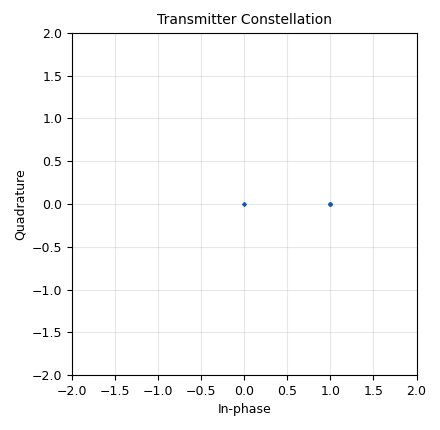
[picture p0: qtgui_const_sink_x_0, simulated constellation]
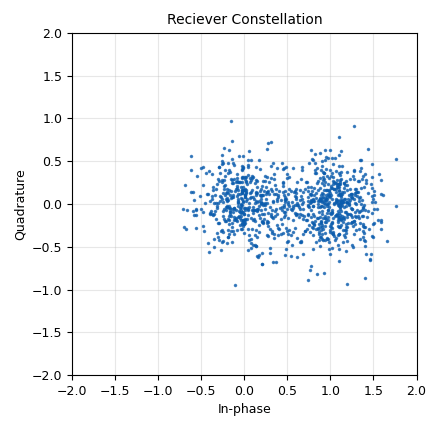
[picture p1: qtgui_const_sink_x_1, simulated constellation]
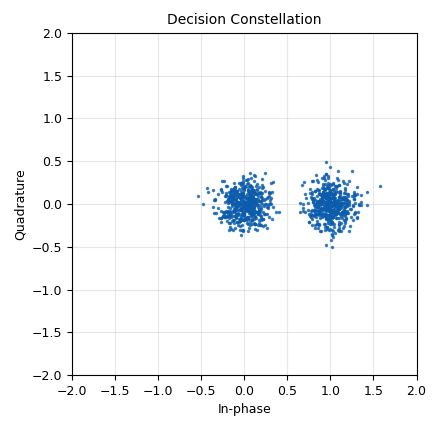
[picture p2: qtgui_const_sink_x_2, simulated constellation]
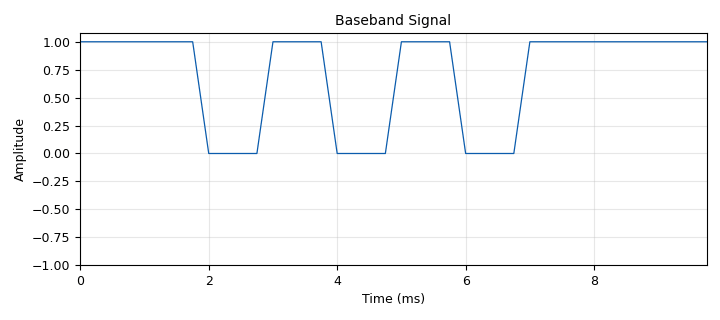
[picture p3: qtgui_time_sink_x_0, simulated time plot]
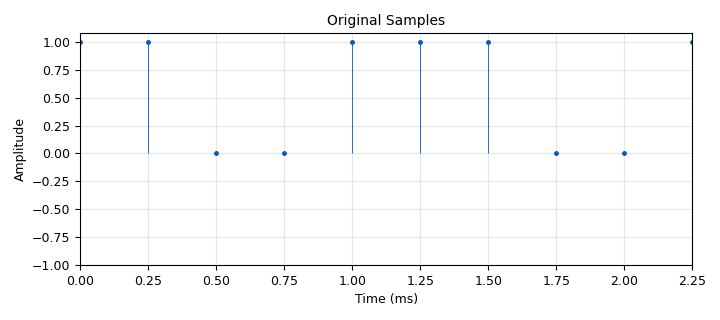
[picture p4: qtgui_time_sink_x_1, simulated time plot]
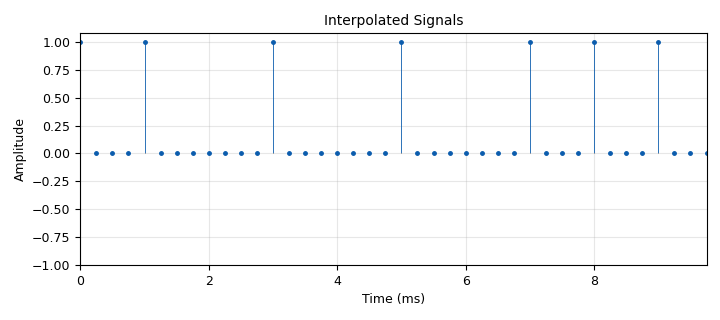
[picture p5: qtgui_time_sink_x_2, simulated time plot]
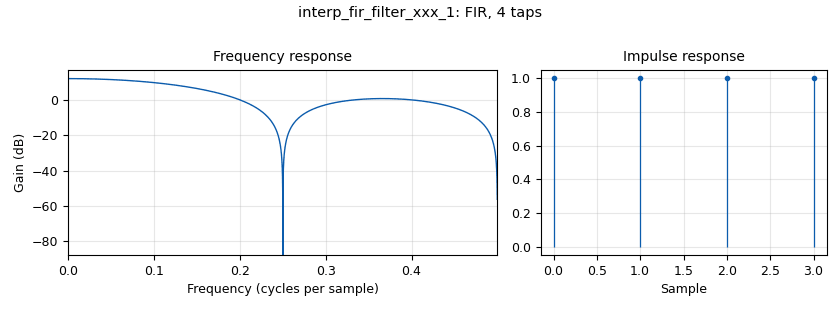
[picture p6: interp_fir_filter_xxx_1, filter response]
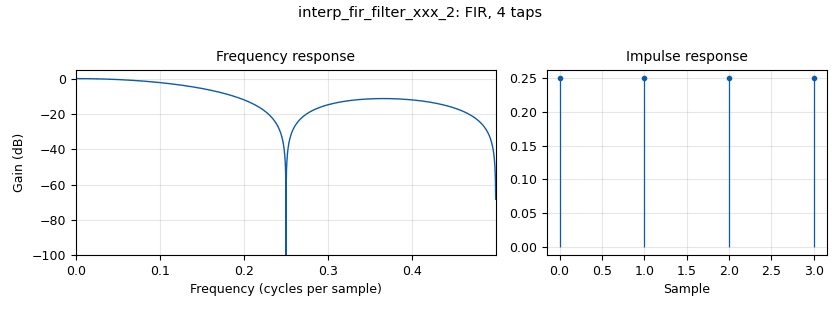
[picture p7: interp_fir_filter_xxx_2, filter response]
options:
  parameters:
    author: pgsve
    generate_options: qt_gui
    id: ask_error
    output_language: python
    title: Not titled yet
  states: {}

blocks:
- name: BER_Theoritical
  id: variable_qtgui_label
  parameters:
    label: ber_theory
    type: int
    value: '0'
  states: {state: disabled}
- name: EbN0
  id: variable
  parameters:
    value: 10**(EbN0_dB/10)
  states: {state: disabled}
- name: EbN0_dB
  id: variable_qtgui_range
  parameters:
    start: '0'
    step: '1'
    stop: '12'
    value: '1'
  states: {state: disabled}
- name: N0
  id: variable
  parameters:
    value: 2/EbN0
  states: {state: disabled}
- name: ber_theory
  id: variable
  parameters:
    value: 0.5*scipy.special.erfc(np.sqrt(10**(EbN0_dB/10)/2))
  states: {state: disabled}
- name: downsample_delay
  id: variable
  parameters:
    value: '0'
  states: {}
- name: noise_amp
  id: variable
  parameters:
    value: np.sqrt(N0)
  states: {state: disabled}
- name: noise_var
  id: variable_qtgui_range
  parameters:
    start: '0'
    step: '0.01'
    stop: '1.0'
    value: '0.4'
  states: {}
- name: nsymbols
  id: variable
  parameters:
    value: '10'
  states: {}
- name: samp_rate
  id: variable
  parameters:
    value: '4000'
  states: {}
- name: symbol_rate
  id: variable
  parameters:
    value: '1000'
  states: {}
- name: variable_0
  id: variable
  parameters:
    value: '0'
  states: {}
- name: analog_const_source_x_0
  id: analog_const_source_x
  parameters:
    const: ber_theory
    type: float
  states: {state: disabled}
- name: analog_noise_source_x_0
  id: analog_noise_source_x
  parameters:
    amp: noise_var
    noise_type: analog.GR_GAUSSIAN
    seed: '0'
    type: complex
  states: {}
- name: analog_random_source_x_0
  id: analog_random_source_x
  parameters:
    max: '2'
    min: '0'
    num_samps: '100000'
    repeat: 'False'
    type: int
  states: {}
- name: ber
  id: qtgui_number_sink
  parameters:
    graph_type: qtgui.NUM_GRAPH_NONE
    name: Theoritical BER
    type: float
  states: {state: disabled}
- name: blocks_add_xx_0
  id: blocks_add_xx
  parameters:
    type: complex
  states: {}
- name: blocks_char_to_float_0
  id: blocks_char_to_float
  parameters:
    scale: '1'
  states: {}
- name: blocks_char_to_float_1
  id: blocks_char_to_float
  parameters:
    scale: '1'
  states: {}
- name: blocks_float_to_char_0
  id: blocks_float_to_char
  parameters:
    scale: '1'
  states: {}
- name: blocks_float_to_complex_0
  id: blocks_float_to_complex
  parameters: {}
  states: {}
- name: blocks_keep_one_in_n_0
  id: blocks_keep_one_in_n
  parameters:
    n: (samp_rate//symbol_rate)
    type: complex
  states: {}
- name: blocks_skiphead_0
  id: blocks_skiphead
  parameters:
    num_items: downsample_delay
    type: complex
  states: {}
- name: blocks_throttle2_0
  id: blocks_throttle2
  parameters:
    samples_per_second: '8000'
    type: float
  states: {}
- name: digital_chunks_to_symbols_xx_0
  id: digital_chunks_to_symbols_xx
  parameters:
    dimension: '1'
    in_type: int
    out_type: float
    symbol_table: '[0,1]'
  states: {}
- name: epy_block_0
  id: epy_block
  parameters:
    _source_code: |-
      import numpy as np
      from gnuradio import gr


      class blk(gr.sync_block):
          """
          BER Calculator

          Input 0 : Transmitted bits (uint8)
          Input 1 : Detected bits    (uint8)

          Output 0: BER
          Output 1: Total errors
          Output 2: Total bits compared
          """

          def __init__(self):
              gr.sync_block.__init__(
                  self,
                  name='BER Calculator',
                  in_sig=[np.uint8, np.uint8],
                  out_sig=[np.float32, np.float32, np.float32]
              )

              self.total_bits = 0
              self.total_errors = 0

          def work(self, input_items, output_items):

              tx = input_items[0]
              rx = input_items[1]

              N = min(len(tx), len(rx))

              if N == 0:
                  return 0

              # Count errors in the current block
              errors = np.count_nonzero(tx[:N] != rx[:N])

              # Cumulative counters
              self.total_errors += int(errors)
              self.total_bits += N

              # Calculate BER
              ber = float(self.total_errors) / float(self.total_bits)

              # Outputs
              output_items[0][:N] = ber
              output_items[1][:N] = float(self.total_errors)
              output_items[2][:N] = float(self.total_bits)

              return N
  states: {}
- name: epy_block_1
  id: epy_block
  parameters:
    _source_code: |-
      import numpy as np
      from gnuradio import gr


      class blk(gr.sync_block):
          """
          ASK/OOK Decision Device

          Input  : Complex matched-filter samples
          Output : Detected bits (0 or 1)
          """

          def __init__(self, threshold=0.5):
              gr.sync_block.__init__(
                  self,
                  name='ASK Decision Device',
                  in_sig=[np.complex64],
                  out_sig=[np.uint8]
              )

              self.threshold = threshold

          def work(self, input_items, output_items):

              # Complex samples from matched filter/downsampler
              y = input_items[0]

              # Take the in-phase (real) component
              y_real = np.real(y)

              # Decision:
              # Real(y) > threshold  -> 1
              # Real(y) <= threshold -> 0
              output_items[0][:] = (y_real > self.threshold).astype(np.uint8)

              return len(output_items[0])
    threshold: '0.5'
  states: {}
- name: import_0
  id: import
  parameters:
    imports: import numpy as np
  states: {}
- name: import_1
  id: import
  parameters:
    imports: import scipy.special
  states: {state: disabled}
- name: interp_fir_filter_xxx_0
  id: interp_fir_filter_xxx
  parameters:
    interp: samp_rate//symbol_rate
    taps: np.hstack((1, np.zeros(samp_rate//symbol_rate-1)))
    type: fff
  states: {}
- name: interp_fir_filter_xxx_1
  id: interp_fir_filter_xxx
  parameters:
    interp: '1'
    taps: np.ones(samp_rate//symbol_rate)
    type: fff
  states: {}
- name: interp_fir_filter_xxx_2
  id: interp_fir_filter_xxx
  parameters:
    interp: '1'
    taps: 1./float(samp_rate//symbol_rate)*(np.ones(samp_rate//symbol_rate))
    type: ccc
  states: {}
- name: qtgui_const_sink_x_0
  id: qtgui_const_sink_x
  parameters:
    grid: 'True'
    gui_hint: 1,0,1,1
    name: Transmitter Constellation
    size: nsymbols*(samp_rate//symbol_rate)
    type: complex
  states: {}
- name: qtgui_const_sink_x_1
  id: qtgui_const_sink_x
  parameters:
    gui_hint: 1,1,1,1
    name: Reciever Constellation
    size: '1024'
    type: complex
  states: {}
- name: qtgui_const_sink_x_2
  id: qtgui_const_sink_x
  parameters:
    gui_hint: 1,2,1,1
    name: Decision Constellation
    size: '1024'
    type: complex
  states: {}
- name: qtgui_number_sink_0
  id: qtgui_number_sink
  parameters:
    graph_type: qtgui.NUM_GRAPH_NONE
    gui_hint: 2,0,1,1
    name: Simulation BER
    type: float
  states: {}
- name: qtgui_number_sink_1
  id: qtgui_number_sink
  parameters:
    graph_type: qtgui.NUM_GRAPH_NONE
    gui_hint: 3,0,1,1
    name: Error Counts
    type: float
  states: {}
- name: qtgui_number_sink_2
  id: qtgui_number_sink
  parameters:
    graph_type: qtgui.NUM_GRAPH_NONE
    gui_hint: 4,0,1,1
    name: Total Bits
    type: float
  states: {}
- name: qtgui_time_sink_x_0
  id: qtgui_time_sink_x
  parameters:
    grid: 'True'
    gui_hint: 0,2,1,1
    name: Baseband Signal
    size: nsymbols*(samp_rate//symbol_rate)
    srate: samp_rate
    type: float
  states: {}
- name: qtgui_time_sink_x_1
  id: qtgui_time_sink_x
  parameters:
    grid: 'True'
    gui_hint: 0,0,1,1
    marker1: '0'
    name: Original Samples
    size: nsymbols
    srate: samp_rate
    stemplot: 'True'
    type: float
  states: {}
- name: qtgui_time_sink_x_2
  id: qtgui_time_sink_x
  parameters:
    grid: 'True'
    gui_hint: 0,1,1,1
    marker1: '0'
    name: Interpolated Signals
    size: nsymbols*(samp_rate//symbol_rate)
    srate: samp_rate
    stemplot: 'True'
    type: float
  states: {}
- name: qtgui_time_sink_x_5
  id: qtgui_time_sink_x
  parameters:
    grid: 'True'
    gui_hint: 2,1,2,2
    marker1: '0'
    name: TX-RX Samples
    nconnections: '2'
    size: nsymbols*(samp_rate//symbol_rate)
    srate: samp_rate
    stemplot: 'True'
    type: float
  states: {}
- name: virtual_sink_0
  id: virtual_sink
  parameters:
    stream_id: digital
  states: {}
- name: virtual_source_0
  id: virtual_source
  parameters:
    stream_id: digital
  states: {}

connections:
- [analog_const_source_x_0, '0', ber, '0']
- [analog_noise_source_x_0, '0', blocks_add_xx_0, '1']
- [analog_random_source_x_0, '0', digital_chunks_to_symbols_xx_0, '0']
- [blocks_add_xx_0, '0', interp_fir_filter_xxx_2, '0']
- [blocks_add_xx_0, '0', qtgui_const_sink_x_1, '0']
- [blocks_char_to_float_0, '0', qtgui_time_sink_x_5, '1']
- [blocks_char_to_float_1, '0', qtgui_time_sink_x_5, '0']
- [blocks_float_to_char_0, '0', blocks_char_to_float_1, '0']
- [blocks_float_to_char_0, '0', epy_block_0, '0']
- [blocks_float_to_complex_0, '0', qtgui_const_sink_x_0, '0']
- [blocks_float_to_complex_0, '0', virtual_sink_0, '0']
- [blocks_keep_one_in_n_0, '0', epy_block_1, '0']
- [blocks_keep_one_in_n_0, '0', qtgui_const_sink_x_2, '0']
- [blocks_skiphead_0, '0', blocks_keep_one_in_n_0, '0']
- [blocks_throttle2_0, '0', interp_fir_filter_xxx_0, '0']
- [digital_chunks_to_symbols_xx_0, '0', blocks_float_to_char_0, '0']
- [digital_chunks_to_symbols_xx_0, '0', blocks_throttle2_0, '0']
- [digital_chunks_to_symbols_xx_0, '0', qtgui_time_sink_x_1, '0']
- [epy_block_0, '0', qtgui_number_sink_0, '0']
- [epy_block_0, '1', qtgui_number_sink_1, '0']
- [epy_block_0, '2', qtgui_number_sink_2, '0']
- [epy_block_1, '0', blocks_char_to_float_0, '0']
- [epy_block_1, '0', epy_block_0, '1']
- [interp_fir_filter_xxx_0, '0', interp_fir_filter_xxx_1, '0']
- [interp_fir_filter_xxx_0, '0', qtgui_time_sink_x_2, '0']
- [interp_fir_filter_xxx_1, '0', blocks_float_to_complex_0, '0']
- [interp_fir_filter_xxx_1, '0', qtgui_time_sink_x_0, '0']
- [interp_fir_filter_xxx_2, '0', blocks_skiphead_0, '0']
- [virtual_source_0, '0', blocks_add_xx_0, '0']

metadata:
  file_format: 1
  grc_version: 3.10.8.0
